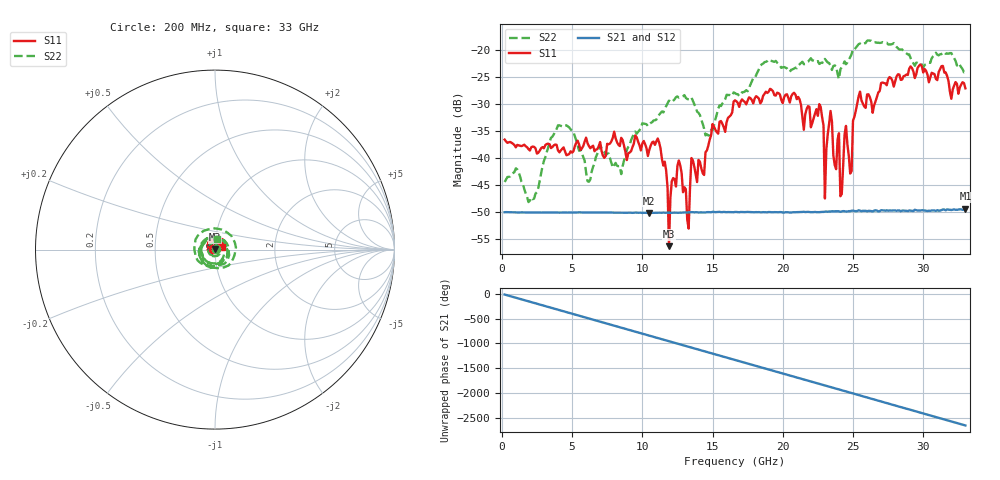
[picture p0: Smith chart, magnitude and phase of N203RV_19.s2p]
# GHZ S RI R 50
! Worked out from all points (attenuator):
!   329 points, 200 MHz to 33 GHz, reference 50 ohm
!   highest |S21| = -49.34 dB at 33 GHz (marker M1); lowest = -50.1 dB at 10.5 GHz (marker M2)
!   lowest |S11| = -56.3 dB at 11.9 GHz (marker M3), VSWR 1.00, Z = 50.1 + j0.102 ohm
!   |S11| at or under -10 dB: start of sweep to end of sweep
!   |S22| runs from -48.1 to -18.2 dB; largest |S21 - S12| = 7.2e-05
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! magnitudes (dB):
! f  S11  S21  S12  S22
! 200 MHz  -36.5  -50.0  -50.0  -44.4
! 5.7 GHz  -38.2  -50.0  -50.0  -39.0
! 10.5 GHz  -38.5  -50.1  -50.1  -33.7
! 11.2 GHz  -37.1  -50.1  -50.1  -31.9
! 11.7 GHz  -42.3  -50.1  -50.1  -30.3
! 11.9 GHz  -56.3  -50.1  -50.0  -29.3
! 12.6 GHz  -40.4  -50.1  -50.0  -28.8
! 13.3 GHz  -53.0  -50.0  -50.0  -29.1
! 13.5 GHz  -39.9  -50.0  -50.0  -28.7
! 16.6 GHz  -29.3  -49.9  -49.9  -27.9
! 22.1 GHz  -33.5  -50.0  -49.9  -21.9
! 22.7 GHz  -30.5  -49.9  -49.9  -22.4
! 22.9 GHz  -33.9  -49.9  -49.9  -22.4
! 23 GHz  -47.4  -49.9  -49.8  -21.6
! 23.4 GHz  -31.2  -49.8  -49.8  -22.8
! 23.8 GHz  -42.0  -49.8  -49.8  -23.0
! 24 GHz  -35.4  -49.8  -49.8  -25.3
! 24.1 GHz  -47.0  -49.9  -49.8  -23.6
! 24.5 GHz  -34.0  -49.9  -49.8  -22.6
! 25.5 GHz  -27.7  -49.7  -49.7  -18.8
! 27.6 GHz  -25.0  -49.7  -49.7  -18.9
! 33 GHz  -27.1  -49.3  -49.3  -24.0
